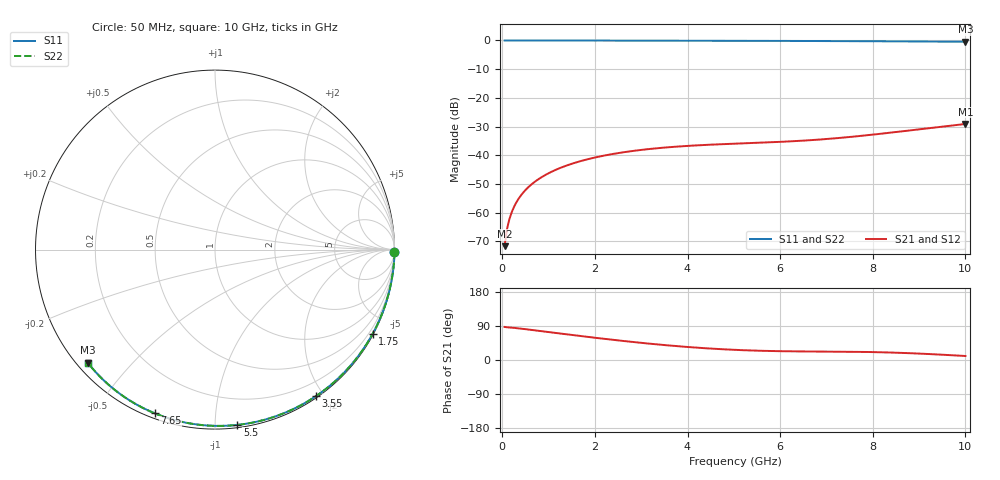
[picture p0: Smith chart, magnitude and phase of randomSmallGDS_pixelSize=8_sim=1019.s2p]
! freq	dB(S11)	phase(S11)	dB(S12)	phase(S12)
!  dB(S21)	phase(S21)	dB(S22)	phase(S22)
!S-par simulation data
#  GHz  S  DB  R 50
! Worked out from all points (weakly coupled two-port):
!   200 points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, 50 MHz to 10 GHz, reference 50 ohm
!   highest |S21| = -29.09 dB at 10 GHz (marker M1); lowest = -71.6 dB at 50 MHz (marker M2)
!   lowest |S11| = -0.5 dB at 10 GHz (marker M3), VSWR 37.83, Z = 1.51 - j19 ohm
!   |S11| at or under -10 dB: nowhere
!   |S22| runs from -0.5 to 0.0 dB; largest |S21 - S12| = 0
!   S11 on the Smith chart (normalised r, x): 50 MHz: open; 1.75 GHz: 0.04, -4.01; 3.55 GHz: 0.02, -1.91; 5.5 GHz: 0.02, -1.14; 7.65 GHz: 0.02, -0.70; 10 GHz: 0.03, -0.38
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0.05  -0.00 -0.8  -71.65 87.2  -71.65 87.2  -0.00 -0.8
0.1  -0.00 -1.6  -65.84 86.4  -65.84 86.4  -0.00 -1.6
0.15  -0.00 -2.4  -62.42 85.9  -62.42 85.9  -0.00 -2.4
0.2  -0.00 -3.3  -59.97 85.4  -59.97 85.4  -0.00 -3.3
0.25  -0.00 -4.1  -58.06 84.9  -58.06 84.9  -0.00 -4.1
0.35  -0.00 -5.7  -55.17 83.5  -55.17 83.5  -0.00 -5.7
0.5  -0.01 -8.1  -52.11 81.4  -52.11 81.4  -0.01 -8.1
0.7  -0.01 -11.3  -49.24 78.4  -49.24 78.4  -0.01 -11.3
1  -0.02 -16.1  -46.24 73.7  -46.24 73.7  -0.02 -16.1
1.35  -0.03 -21.7  -43.79 68.4  -43.79 68.4  -0.03 -21.7
1.75  -0.04 -28.0  -41.76 62.4  -41.76 62.4  -0.04 -28.0
2.5  -0.05 -39.6  -39.23 51.7  -39.23 51.7  -0.05 -39.6
3.4  -0.07 -53.2  -37.46 40.5  -37.46 40.5  -0.07 -53.2
3.55  -0.07 -55.4  -37.25 38.9  -37.25 38.9  -0.07 -55.4
4.3  -0.09 -66.2  -36.46 31.7  -36.46 31.7  -0.09 -66.2
5.05  -0.12 -76.6  -35.93 26.6  -35.93 26.6  -0.12 -76.6
5.5  -0.13 -82.7  -35.66 24.6  -35.66 24.6  -0.13 -82.7
6.7  -0.19 -98.4  -34.68 22.4  -34.68 22.4  -0.19 -98.4
7.65  -0.25 -110.3  -33.39 21.6  -33.39 21.6  -0.25 -110.3
8.35  -0.30 -118.8  -32.18 19.9  -32.18 19.9  -0.30 -118.8
9.2  -0.38 -128.9  -30.58 15.8  -30.58 15.8  -0.38 -128.9
10  -0.46 -138.4  -29.09 10.6  -29.09 10.6  -0.46 -138.3
